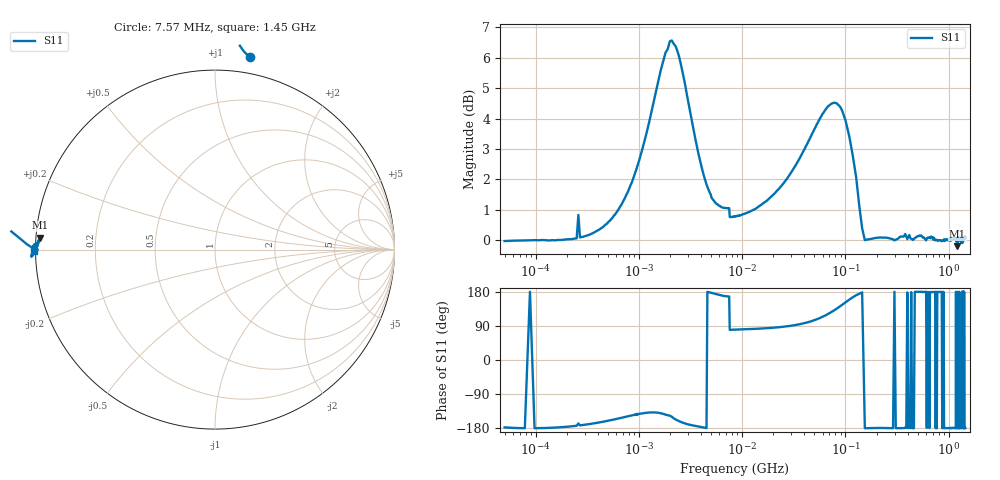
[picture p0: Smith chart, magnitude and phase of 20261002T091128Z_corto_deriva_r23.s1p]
! piloto_deriva / corto_deriva / r23
# HZ S RI R 50
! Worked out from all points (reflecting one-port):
!   501 points, 50 kHz to 1.45 GHz, reference 50 ohm
!   lowest |S11| = -0.2 dB at 1.212 GHz (marker M1), VSWR 88.17, Z = 0.568 + j1.69 ohm
!   phase of S11 starts at -178 deg and turns -2 deg over the sweep
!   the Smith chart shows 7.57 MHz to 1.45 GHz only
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50000  -0.996 -0.0372
183000  -1 -0.0524
363500  -1.004 -0.2246
658000  -1.015 -0.5109
1180000  -1.134 -0.9765
1630000  -1.471 -1.212
1990000  -1.783 -1.155
2260000  -1.917 -0.8223
2440000  -1.902 -0.6447
3070000  -1.633 -0.2696
4330000  -1.264 -0.0307
7300000  -1.103 0.242
7750000  0.194 1.074
8560000  0.1871 1.077
1.99e7  0.1013 1.183
3.16e7  -0.0343 1.313
4.69e7  -0.3229 1.454
6.76e7  -0.8614 1.419
7.93e7  -1.139 1.239
9.37e7  -1.355 0.8999
9.82e7  -1.383 0.7828
1e8  -1.391 0.7387
1.18e8  -1.331 0.3396
1.36e8  -1.135 0.1014
1.63e8  -1.003 -0.0041
4.06e8  -1.012 -0.00343
1.2115e9  -0.9753 0.0661
1.45e9  -1.009 -0.00806
